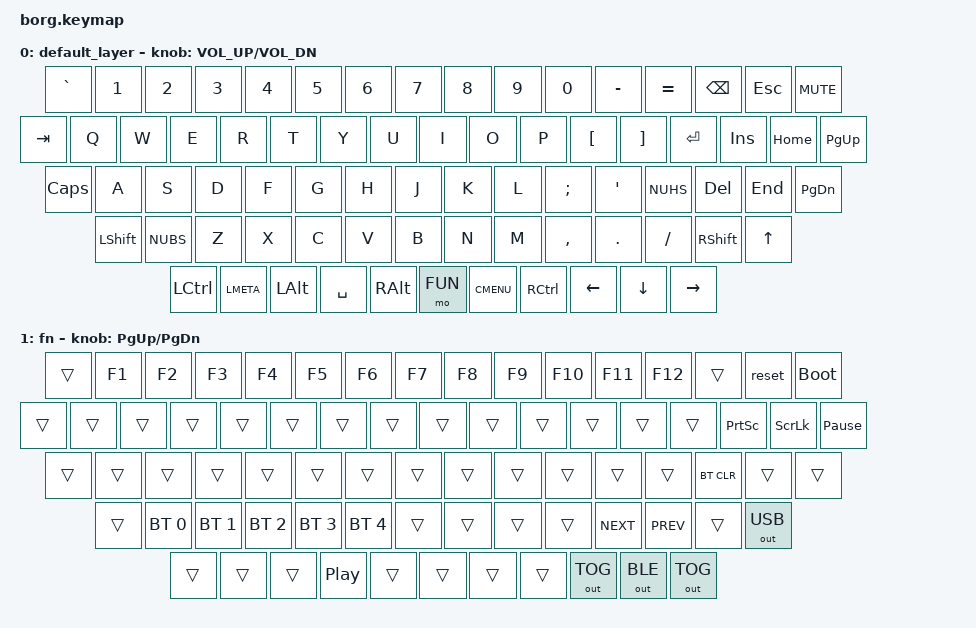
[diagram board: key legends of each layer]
#include <behaviors.dtsi>
#include <dt-bindings/zmk/keys.h>
#include <dt-bindings/zmk/bt.h>
#include <dt-bindings/zmk/outputs.h>

#define DEFAULT 0
#define FUN     1

/ {

    //combos {
        /* key positions
            0    1   2   3   4   5   6   7   8   9   10  11  12  13     14  15
            16   17  18  19  20  21  22  23  24  25  26  27  28  29   30  31  32
            33   34  35  36  37  38  39  40  41  42  43  44  45       46  47  48
            49   50  51  52  53  54  55  56  57  58  59  60  61           62
            63   64  65              66              67  68  69  70   71  72  73
        */
    /*    
        compatible = "zmk,combos";
        
        #define COMBO(NAME, BINDINGS, KEYPOS) \
          combo_##NAME { \
            bindings = <BINDINGS>; \
            key-positions = <KEYPOS>; \
            layers = <0 1>; \
          };
        
        COMBO(reset,       &reset,          14  49  68)
        COMBO(bootloader,  &bootloader,     15  49  68)
        COMBO(btreset,     &bt BT_CLR,      46  49  68)
        COMBO(outble,      &out OUT_BLE,      32  49  68)
        COMBO(outusb,      &out OUT_USB,      31  49  68)
        COMBO(outtog,      &out OUT_TOG,      48  49  68)
    };
    */

    keymap {
        compatible = "zmk,keymap";

        /* key positions
            `       1   2   3   4   5   6   7   8   9   0   -   =   bksp        esc     mute
            tab     w   w   e   r   t   y   u   i   o   p   [   ]   enter   insert  home    pgup
            caps    a   s   d   f   g   h   j   k   l   ;   '   #           delete  end     pgdw
            shft    \   z   x   c   v   b   n   m   ,   .   /   shift               up
            ctrl    win alt            space           alt  win men ctrl    left    down    right
        */

        default_layer {
            bindings = <
    &kp GRAVE   &kp N1   &kp N2  &kp N3  &kp N4  &kp N5  &kp N6  &kp N7  &kp N8  &kp N9    &kp N0  &kp MINUS   &kp EQUAL      &kp BSPC           &kp ESC     &kp C_MUTE 
    &kp TAB       &kp Q    &kp W   &kp E   &kp R   &kp T   &kp Y   &kp U   &kp I   &kp O     &kp P    &kp LBKT    &kp RBKT      &kp ENTER    &kp INS   &kp HOME   &kp PG_UP
    &kp CAPS        &kp A    &kp S   &kp D   &kp F   &kp G   &kp H   &kp J   &kp K   &kp L     &kp SEMI &kp SQT     &kp NUHS                 &kp DEL   &kp END    &kp PG_DN
    &kp LSHFT    &kp NUBS &kp Z   &kp X   &kp C   &kp V   &kp B   &kp N   &kp M   &kp COMMA &kp DOT &kp FSLH            &kp RSHFT                      &kp UP
    &kp LCTRL     &kp LMETA  &kp LALT                      &kp SPACE                 &kp RALT      &mo FUN      &kp K_CMENU     &kp RCTRL    &kp LEFT  &kp DOWN   &kp RIGHT 
            >;
            sensor-bindings = <&inc_dec_kp C_VOL_UP C_VOL_DN>;
        };

        fn {
            bindings = <
    &trans      &kp F1         &kp F2        &kp F3        &kp F4        &kp F5        &kp F6  &kp F7  &kp F8  &kp F9    &kp F10    &kp F11     &kp F12        &trans             &reset         &bootloader 
    &trans        &trans         &trans        &trans        &trans        &trans        &trans  &trans  &trans  &trans    &trans      &trans      &trans        &trans       &kp PSCRN    &kp SLCK     &kp PAUSE_BREAK
    &trans          &trans         &trans        &trans        &trans        &trans        &trans  &trans  &trans  &trans    &trans      &trans      &trans                   &bt BT_CLR   &trans       &trans
    &trans       &bt BT_SEL 0   &bt BT_SEL 1  &bt BT_SEL 2  &bt BT_SEL 3  &bt BT_SEL 4  &trans  &trans  &trans  &trans    &kp C_NEXT &kp C_PREV          &trans                            &out OUT_USB
    &trans        &trans           &trans                                                &kp C_PP                  &trans           &trans       &trans          &trans       &out OUT_TOG &out OUT_BLE &out OUT_TOG
            >;
            sensor-bindings = <&inc_dec_kp PG_UP PG_DN>;
        };
    };
};
